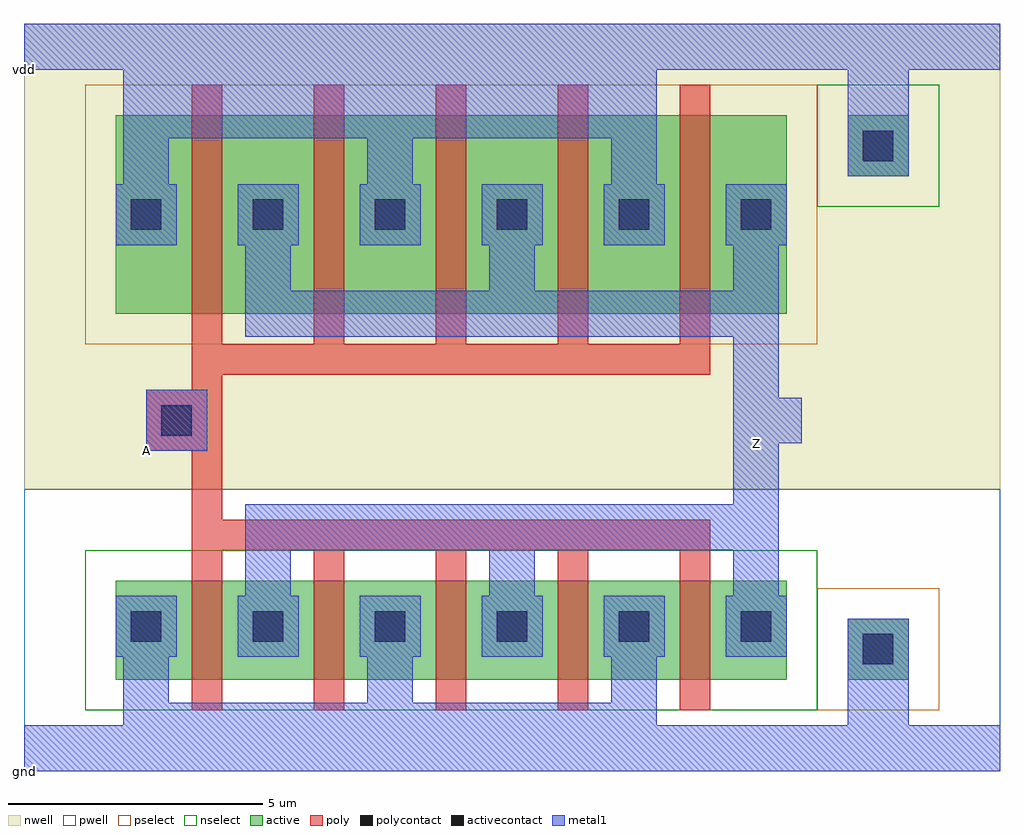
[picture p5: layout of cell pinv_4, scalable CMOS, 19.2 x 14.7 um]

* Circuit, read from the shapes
.subckt pinv_4 A Z gnd vdd
M1 Z A gnd gnd nfet w=1.95u l=0.6u m=5
M2 Z A vdd vdd pfet w=3.9u l=0.6u m=5
.ends

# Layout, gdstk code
import gdstk
lib = gdstk.Library(unit=1e-6, precision=1e-09)
def R(c, l, rs):  # rectangles x0, y0, x1, y1
    for r in rs: c.add(gdstk.rectangle(r[:2], r[2:], *l))
def A(c, l, x, y, w, h, nx, ny, dx, dy):  # array of equal rectangles
    R(c, l, [(x+i*dx, y+j*dy, x+i*dx+w, y+j*dy+h) for i in range(nx) for j in range(ny)])
pwell = (41, 0)
nwell = (42, 0)
active = (43, 0)
pselect = (44, 0)
nselect = (45, 0)
poly = (46, 0)
polycontact = (47, 0)
activecontact = (48, 0)
metal1 = (49, 0)

active_contact_metal1_1x = lib.new_cell('active_contact_metal1_1x1_pn')
R(active_contact_metal1_1x, nwell, [(-1.8,-1.8,3,3), (-1.8,-1.8,3,3)])
R(active_contact_metal1_1x, active, [(0,0,1.2,1.2), (0,0,1.2,1.2)])
R(active_contact_metal1_1x, pselect, [(-0.6,-0.6,1.8,1.8), (-0.6,-0.6,1.8,1.8)])
R(active_contact_metal1_1x, activecontact, [(0.3,0.3,0.9,0.9), (0.3,0.3,0.9,0.9)])
R(active_contact_metal1_1x, metal1, [(0,0,1.2,1.2), (0,0,1.2,1.2)])

pmos_m5_w3_9_a_p = lib.new_cell('pmos_m5_w3_9_a_p')
R(pmos_m5_w3_9_a_p, nwell, [(-1.8,-1.8,15,5.7)])
R(pmos_m5_w3_9_a_p, active, [(0,0,13.2,3.9)])
R(pmos_m5_w3_9_a_p, pselect, [(-0.6,-0.6,13.8,4.5)])
A(pmos_m5_w3_9_a_p, poly, 1.5, -0.6, 0.6, 5.1, 5, 1, 2.4, 0)
R(pmos_m5_w3_9_a_p, poly, [(1.5,-1.2,11.7,-0.6)])
A(pmos_m5_w3_9_a_p, metal1, 2.55, 0, 0.9, 1.95, 3, 1, 4.8, 0)
A(pmos_m5_w3_9_a_p, metal1, 0.15, 1.95, 0.9, 1.95, 3, 1, 4.8, 0)
R(pmos_m5_w3_9_a_p, metal1, [(2.55,-0.45,13.05,0.45), (0.15,3.45,10.65,4.35)])
pmos_m5_w3_9_a_p.add(gdstk.Reference(active_contact_metal1_1x, (0,1.35)))
pmos_m5_w3_9_a_p.add(gdstk.Reference(active_contact_metal1_1x, (4.8,1.35)))
pmos_m5_w3_9_a_p.add(gdstk.Reference(active_contact_metal1_1x, (9.6,1.35)))
pmos_m5_w3_9_a_p.add(gdstk.Reference(active_contact_metal1_1x, (2.4,1.35)))
pmos_m5_w3_9_a_p.add(gdstk.Reference(active_contact_metal1_1x, (7.2,1.35)))
pmos_m5_w3_9_a_p.add(gdstk.Reference(active_contact_metal1_1x, (12,1.35)))
pmos_m5_w3_9_a_p.add(gdstk.Label('S', (0.15,3.45), layer=49, texttype=0))
pmos_m5_w3_9_a_p.add(gdstk.Label('D', (2.55,-0.45), layer=49, texttype=0))
pmos_m5_w3_9_a_p.add(gdstk.Label('G', (1.5,-1.2), layer=46, texttype=0))

c_active_contact_metal1_1x = lib.new_cell('active_contact_metal1_1x1_np')
R(c_active_contact_metal1_1x, pwell, [(-1.8,-1.8,3,3)])
R(c_active_contact_metal1_1x, active, [(0,0,1.2,1.2)])
R(c_active_contact_metal1_1x, nselect, [(-0.6,-0.6,1.8,1.8)])
R(c_active_contact_metal1_1x, activecontact, [(0.3,0.3,0.9,0.9)])
R(c_active_contact_metal1_1x, metal1, [(0,0,1.2,1.2)])

nmos_m5_w1_95_a_p = lib.new_cell('nmos_m5_w1_95_a_p')
R(nmos_m5_w1_95_a_p, pwell, [(-1.8,-1.8,15,3.75)])
R(nmos_m5_w1_95_a_p, active, [(0,0,13.2,1.95)])
R(nmos_m5_w1_95_a_p, nselect, [(-0.6,-0.6,13.8,2.55)])
A(nmos_m5_w1_95_a_p, poly, 1.5, -0.6, 0.6, 3.15, 5, 1, 2.4, 0)
R(nmos_m5_w1_95_a_p, poly, [(1.5,2.55,11.7,3.15)])
A(nmos_m5_w1_95_a_p, metal1, 0.15, -0.9, 0.9, 1.95, 3, 1, 4.8, 0)
A(nmos_m5_w1_95_a_p, metal1, 2.55, 1.05, 0.9, 1.95, 3, 1, 4.8, 0)
R(nmos_m5_w1_95_a_p, metal1, [(0.15,-1.35,10.65,-0.45), (2.55,2.55,13.05,3.45)])
nmos_m5_w1_95_a_p.add(gdstk.Reference(c_active_contact_metal1_1x, (0,0.45)))
nmos_m5_w1_95_a_p.add(gdstk.Reference(c_active_contact_metal1_1x, (4.8,0.45)))
nmos_m5_w1_95_a_p.add(gdstk.Reference(c_active_contact_metal1_1x, (9.6,0.45)))
nmos_m5_w1_95_a_p.add(gdstk.Reference(c_active_contact_metal1_1x, (2.4,0.45)))
nmos_m5_w1_95_a_p.add(gdstk.Reference(c_active_contact_metal1_1x, (7.2,0.45)))
nmos_m5_w1_95_a_p.add(gdstk.Reference(c_active_contact_metal1_1x, (12,0.45)))
nmos_m5_w1_95_a_p.add(gdstk.Label('S', (0.15,-1.35), layer=49, texttype=0))
nmos_m5_w1_95_a_p.add(gdstk.Label('D', (2.55,2.55), layer=49, texttype=0))
nmos_m5_w1_95_a_p.add(gdstk.Label('G', (1.5,2.55), layer=46, texttype=0))

c_active_contact_metal1_1x_ = lib.new_cell('active_contact_metal1_1x1_nn')
R(c_active_contact_metal1_1x_, nwell, [(-1.8,-1.8,3,3), (-1.8,-1.8,3,3)])
R(c_active_contact_metal1_1x_, active, [(0,0,1.2,1.2), (0,0,1.2,1.2)])
R(c_active_contact_metal1_1x_, nselect, [(-0.6,-0.6,1.8,1.8), (-0.6,-0.6,1.8,1.8)])
R(c_active_contact_metal1_1x_, activecontact, [(0.3,0.3,0.9,0.9), (0.3,0.3,0.9,0.9)])
R(c_active_contact_metal1_1x_, metal1, [(0,0,1.2,1.2), (0,0,1.2,1.2)])

c_active_contact_metal1_1x__ = lib.new_cell('active_contact_metal1_1x1_pp')
R(c_active_contact_metal1_1x__, pwell, [(-1.8,-1.8,3,3)])
R(c_active_contact_metal1_1x__, active, [(0,0,1.2,1.2)])
R(c_active_contact_metal1_1x__, pselect, [(-0.6,-0.6,1.8,1.8)])
R(c_active_contact_metal1_1x__, activecontact, [(0.3,0.3,0.9,0.9)])
R(c_active_contact_metal1_1x__, metal1, [(0,0,1.2,1.2)])

poly_contact_metal1_1x1 = lib.new_cell('poly_contact_metal1_1x1')
R(poly_contact_metal1_1x1, poly, [(0,0,1.2,1.2), (0,0,1.2,1.2)])
R(poly_contact_metal1_1x1, polycontact, [(0.3,0.3,0.9,0.9), (0.3,0.3,0.9,0.9)])
R(poly_contact_metal1_1x1, metal1, [(0,0,1.2,1.2), (0,0,1.2,1.2)])

pinv_4 = lib.new_cell('pinv_4')
R(pinv_4, pwell, [(0,-0.45,19.2,5.1)])
R(pinv_4, nwell, [(0,5.1,19.2,14.25)])
R(pinv_4, poly, [(3.3,3.9,3.9,7.35), (3,5.85,3.3,7.05)])
R(pinv_4, metal1, [(0,-0.45,19.2,0.45), (16.2,0,17.4,1.95), (13.95,3.9,14.85,8.1), (2.4,5.85,3.6,7.05), (14.4,6,15.3,6.9), (16.2,11.85,17.4,13.8), (1.95,12,12.45,14.25), (0,13.35,19.2,14.25)])
pinv_4.add(gdstk.Reference(pmos_m5_w3_9_a_p, (1.8,8.55)))
pinv_4.add(gdstk.Reference(nmos_m5_w1_95_a_p, (1.8,1.35)))
pinv_4.add(gdstk.Reference(c_active_contact_metal1_1x_, (16.2,11.25)))
pinv_4.add(gdstk.Reference(c_active_contact_metal1_1x__, (16.2,1.35)))
pinv_4.add(gdstk.Reference(poly_contact_metal1_1x1, (2.4,5.85)))
pinv_4.add(gdstk.Label('A', (2.4,5.85), layer=49, texttype=0))
pinv_4.add(gdstk.Label('Z', (14.4,6), layer=49, texttype=0))
pinv_4.add(gdstk.Label('vdd', (0,13.35), layer=49, texttype=0))
pinv_4.add(gdstk.Label('gnd', (0,-0.45), layer=49, texttype=0))

lib.write_gds('pinv_4.gds')
